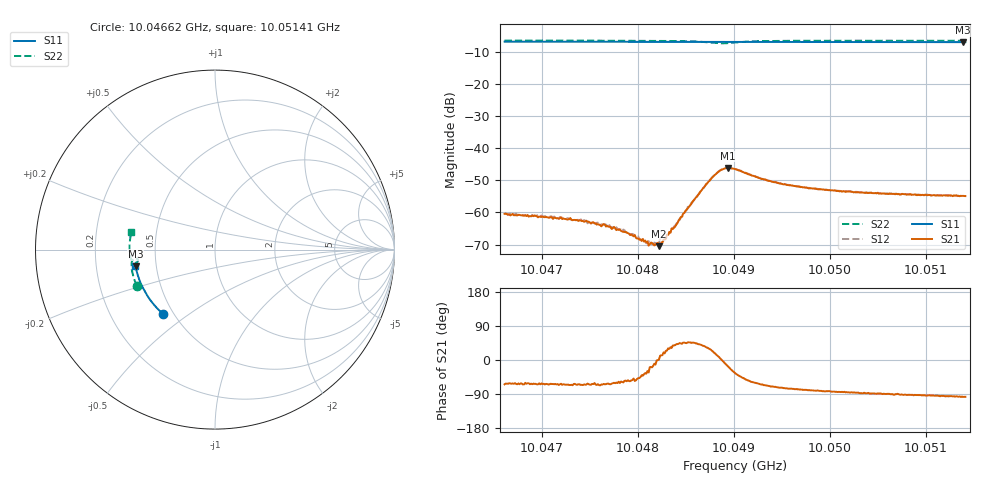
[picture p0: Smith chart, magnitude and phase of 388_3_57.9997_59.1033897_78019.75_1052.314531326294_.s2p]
#  HZ  S  RI  R  50.00
! Rohde & Schwarz Vector Network Analyzer
! Rohde-Schwarz,ZNB20-2Port,1311601062101988,3.16
! Created: UTC 3/21/2024, 1:07:44 AM
! freq[Hz]  re:S11  im:S11  re:S21  im:S21  re:S12  im:S12  re:S22  im:S22
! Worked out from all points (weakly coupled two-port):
!   401 points, 10.04662 GHz to 10.05141 GHz, reference 50 ohm
!   highest |S21| = -46.14 dB at 10.04894 GHz (marker M1); lowest = -70.5 dB at 10.04822 GHz (marker M2)
!   lowest |S11| = -6.9 dB at 10.05139 GHz (marker M3), VSWR 2.65, Z = 19 - j4.4 ohm
!   |S11| at or under -10 dB: nowhere
!   |S22| runs from -7.3 to -6.4 dB; largest |S21 - S12| = 0.00035
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1.0046616e10  -0.289 -0.3585  0.000416 -0.000857  0.000522 -0.000785  -0.4358 -0.2024
1.0047107e10  -0.3129 -0.3363  0.000375 -0.00075  0.000444 -0.000742  -0.4478 -0.1716
1.0047419e10  -0.3271 -0.3216  0.000303 -0.000668  0.000383 -0.000663  -0.4546 -0.1513
1.0047659e10  -0.3377 -0.3099  0.000284 -0.000583  0.000335 -0.000564  -0.4588 -0.1351
1.0047875e10  -0.3468 -0.2988  0.000291 -0.000405  0.000288 -0.000402  -0.4622 -0.1198
1.0047982e10  -0.3512 -0.2933  0.000238 -0.000323  0.000312 -0.000292  -0.4637 -0.1121
1.0048078e10  -0.355 -0.2881  0.000299 -0.000209  0.000289 -0.000193  -0.4646 -0.1048
1.0048138e10  -0.3575 -0.2851  0.000321 -0.000108  0.000311 -9.99e-05  -0.4651 -0.1002
1.0048222e10  -0.3607 -0.2807  0.000298 5.91e-06  0.000336 1.79e-05  -0.4653 -0.0936
1.004827e10  -0.3627 -0.2782  0.000351 0.000129  0.000352 0.000124  -0.4657 -0.0898
1.004833e10  -0.3648 -0.2749  0.000434 0.000246  0.000403 0.000257  -0.4658 -0.0846
1.004839e10  -0.3671 -0.2716  0.000463 0.000377  0.000455 0.000427  -0.4655 -0.0793
1.0048546e10  -0.373 -0.2632  0.000888 0.000931  0.000816 0.000983  -0.4621 -0.0648
1.0048762e10  -0.3804 -0.251  0.00295 0.00151  0.00288 0.00167  -0.443 -0.0484
1.0048857e10  -0.3835 -0.2458  0.00448 0.000367  0.00446 0.000677  -0.4306 -0.0549
1.0048941e10  -0.3864 -0.2412  0.0047 -0.00149  0.00484 -0.00122  -0.4317 -0.068
1.0049013e10  -0.3887 -0.2373  0.00394 -0.00267  0.0041 -0.00243  -0.441 -0.0734
1.0049385e10  -0.4006 -0.2159  0.00105 -0.00289  0.00126 -0.00283  -0.4703 -0.0471
1.0049816e10  -0.4126 -0.1902  0.000405 -0.00234  0.000554 -0.00231  -0.4759 -0.0128
1.0050619e10  -0.4307 -0.1408  2.13e-05 -0.00197  8.64e-05 -0.00198  -0.4747 0.0436
1.0051387e10  -0.4425 -0.092  -0.00023 -0.0018  -0.000103 -0.00182  -0.4667 0.0945
1.005141e10  -0.443 -0.0905  -0.000221 -0.00179  -0.000118 -0.0018  -0.4664 0.096
